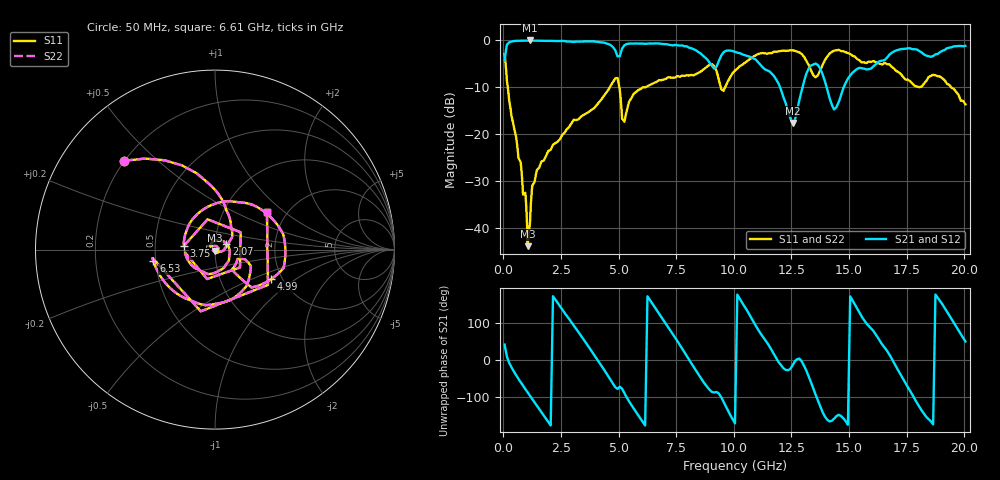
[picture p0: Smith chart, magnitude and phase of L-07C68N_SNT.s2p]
#	mhz	s	ma	r	50
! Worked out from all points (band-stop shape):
!   1001 points, 50 MHz to 20.05 GHz, reference 50 ohm
!   highest |S21| = -0.09 dB at 1.15 GHz (marker M1); lowest = -17.6 dB at 12.55 GHz (marker M2)
!   |S21| within 3 dB of the highest: 82.38 MHz to 4.922 GHz (4.839 GHz wide, 193 % of centre); 5.07 GHz to 8.607 GHz (3.537 GHz wide, 51.7 % of centre) (the widest 2 of 5)
!   lowest |S11| = -43.9 dB at 1.05 GHz (marker M3), VSWR 1.01, Z = 49.7 - j0.584 ohm
!   |S11| at or under -10 dB: 186.7 MHz to 4.62 GHz (4.433 GHz wide, 184 % of centre); 5.028 GHz to 6.179 GHz (1.152 GHz wide, 20.6 % of centre); 19.42 GHz to end of sweep (the widest 3 of 5)
!   |S22| runs from -43.9 to -2.1 dB; largest |S21 - S12| = 0
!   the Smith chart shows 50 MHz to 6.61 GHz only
!   S11 on the Smith chart (normalised r, x): 50 MHz: 0.20, +0.39; 2.07 GHz: 1.13, +0.07; 3.75 GHz: 0.70, +0.03; 4.99 GHz: 1.76, -0.66; 6.53 GHz: 0.49, -0.07; 6.61 GHz: 1.59, +0.76
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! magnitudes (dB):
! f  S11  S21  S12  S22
! 50 MHz  -3.0  -4.3  -4.3  -3.0
! 1.05 GHz  -43.9  -0.1  -0.1  -43.9
! 1.15 GHz  -39.0  -0.1  -0.1  -39.0
! 1.35 GHz  -30.2  -0.1  -0.1  -30.2
! 2.07 GHz  -23.1  -0.2  -0.2  -23.1
! 3.39 GHz  -16.2  -0.3  -0.3  -16.2
! 3.75 GHz  -15.1  -0.3  -0.3  -15.1
! 4.99 GHz  -9.0  -3.5  -3.5  -9.0
! 5.25 GHz  -17.4  -1.1  -1.1  -17.4
! 6.53 GHz  -9.1  -0.7  -0.7  -9.1
! 6.61 GHz  -9.0  -0.7  -0.7  -9.0
! 6.73 GHz  -8.6  -0.7  -0.7  -8.6
! 9.15 GHz  -5.6  -6.1  -6.1  -5.6
! 9.53 GHz  -10.7  -2.8  -2.8  -10.7
! 10.05 GHz  -6.5  -2.5  -2.5  -6.5
! 11.69 GHz  -2.6  -7.4  -7.4  -2.6
! 12.55 GHz  -2.2  -17.6  -17.6  -2.2
! 13.39 GHz  -6.9  -5.3  -5.3  -6.9
! 14.39 GHz  -2.2  -14.6  -14.6  -2.2
! 15.19 GHz  -3.4  -6.8  -6.8  -3.4
! 16.73 GHz  -5.2  -3.2  -3.2  -5.2
! 20.05 GHz  -13.7  -1.2  -1.2  -13.7
